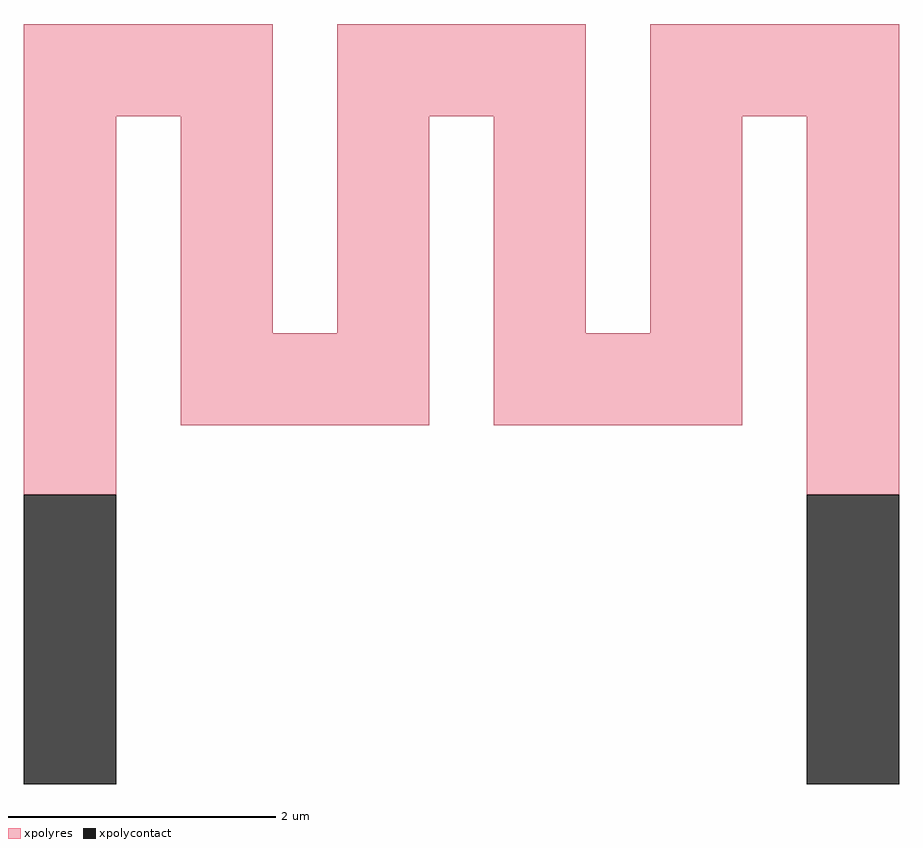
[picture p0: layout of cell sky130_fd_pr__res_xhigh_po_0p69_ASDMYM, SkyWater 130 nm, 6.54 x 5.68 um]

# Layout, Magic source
magic
tech sky130A
<< xpolycontact >>
rect -327 -284 -258 -68
rect 258 -284 327 -68
<< xpolyres >>
rect -327 215 -141 284
rect -327 -68 -258 215
rect -210 53 -141 215
rect -93 215 93 284
rect -93 53 -24 215
rect -210 -16 -24 53
rect 24 53 93 215
rect 141 215 327 284
rect 141 53 210 215
rect 24 -16 210 53
rect 258 -68 327 215
<< properties >>
string gencell sky130_fd_pr__res_xhigh_po_0p69
string library sky130
string parameters w 0.690 l 3 m 1 nx 6 wmin 0.690 lmin 0.50 rho 2000 val 62.719k dummy 0 dw 0.0 term 188.2 sterm 0.0 caplen 0 wmax 0.690 guard 0 glc 0 grc 0 gtc 0 gbc 0 compatible {sky130_fd_pr__res_xhigh_po_0p35  sky130_fd_pr__res_xhigh_po_0p69 sky130_fd_pr__res_xhigh_po_1p41  sky130_fd_pr__res_xhigh_po_2p85 sky130_fd_pr__res_xhigh_po_5p73} snake 1 full_metal 0 n_guard 0 hv_guard 0 vias 1 viagb 0 viagt 0 viagl 0 viagr 0
<< end >>
